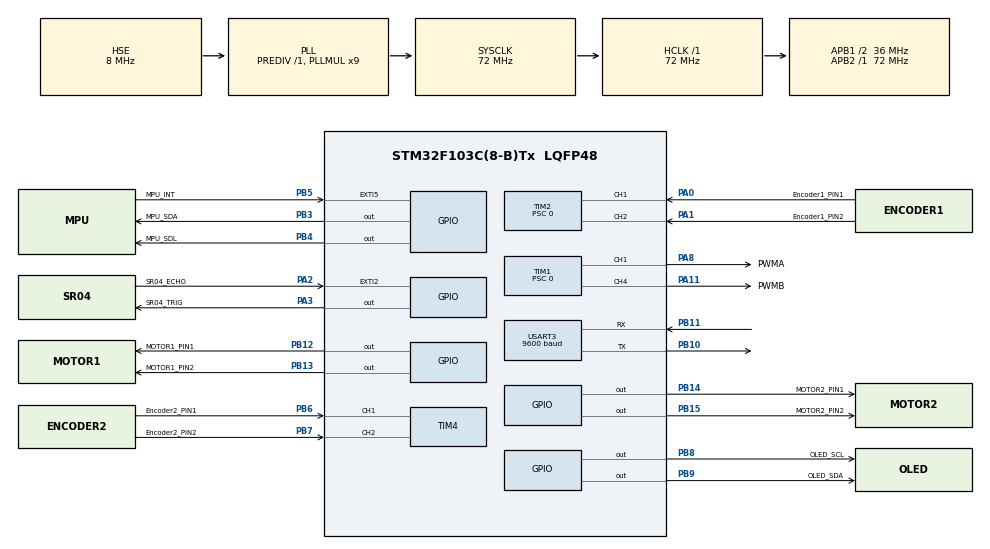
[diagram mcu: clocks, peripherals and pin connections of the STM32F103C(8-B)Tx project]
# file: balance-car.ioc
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Dma.Request0=USART3_RX
Dma.Request1=USART3_TX
Dma.USART3_RX.0.Direction=DMA_PERIPH_TO_MEMORY
Dma.USART3_RX.0.Instance=DMA1_Channel3
Dma.USART3_RX.0.MemDataAlignment=DMA_MDATAALIGN_BYTE
Dma.USART3_RX.0.MemInc=DMA_MINC_ENABLE
Dma.USART3_RX.0.Mode=DMA_NORMAL
Dma.USART3_RX.0.PeriphDataAlignment=DMA_PDATAALIGN_BYTE
Dma.USART3_RX.0.PeriphInc=DMA_PINC_DISABLE
Dma.USART3_RX.0.Priority=DMA_PRIORITY_LOW
Dma.USART3_TX.1.Direction=DMA_MEMORY_TO_PERIPH
Dma.USART3_TX.1.Instance=DMA1_Channel2
Dma.USART3_TX.1.MemDataAlignment=DMA_MDATAALIGN_BYTE
Dma.USART3_TX.1.MemInc=DMA_MINC_ENABLE
Dma.USART3_TX.1.Mode=DMA_NORMAL
Dma.USART3_TX.1.PeriphDataAlignment=DMA_PDATAALIGN_BYTE
Dma.USART3_TX.1.PeriphInc=DMA_PINC_DISABLE
Dma.USART3_TX.1.Priority=DMA_PRIORITY_LOW
Mcu.Family=STM32F1
Mcu.Name=STM32F103C(8-B)Tx
Mcu.Package=LQFP48
NVIC.DMA1_Channel2_IRQn=true\:0\:0\:false\:false\:true\:false\:true\:true
NVIC.DMA1_Channel3_IRQn=true\:0\:0\:false\:false\:true\:false\:true\:true
NVIC.EXTI2_IRQn=true\:0\:0\:false\:false\:true\:true\:true\:true
NVIC.EXTI9_5_IRQn=true\:0\:0\:false\:false\:true\:true\:true\:true
NVIC.PriorityGroup=NVIC_PRIORITYGROUP_4
NVIC.TIM2_IRQn=true\:0\:0\:false\:false\:true\:true\:true\:true
NVIC.USART3_IRQn=true\:0\:0\:false\:false\:true\:true\:true\:true
PA0-WKUP.GPIO_Label=Encoder1_PIN1
PA0-WKUP.Signal=S_TIM2_CH1_ETR
PA1.GPIO_Label=Encoder1_PIN2
PA1.Signal=S_TIM2_CH2
PA11.GPIO_Label=PWMB
PA11.Signal=S_TIM1_CH4
PA13.Mode=Serial_Wire
PA13.Signal=SYS_JTMS-SWDIO
PA14.Mode=Serial_Wire
PA14.Signal=SYS_JTCK-SWCLK
PA2.GPIO_Label=SR04_ECHO
PA2.GPIO_ModeDefaultEXTI=GPIO_MODE_IT_RISING_FALLING
PA2.GPIO_PuPd=GPIO_PULLDOWN
PA2.Signal=GPXTI2
PA3.GPIO_Label=SR04_TRIG
PA3.GPIO_Speed=GPIO_SPEED_FREQ_LOW
PA3.Signal=GPIO_Output
PA8.GPIO_Label=PWMA
PA8.Signal=S_TIM1_CH1
PB10.Mode=Asynchronous
PB10.Signal=USART3_TX
PB11.Mode=Asynchronous
PB11.Signal=USART3_RX
PB12.GPIO_Label=MOTOR1_PIN1
PB12.GPIO_Speed=GPIO_SPEED_FREQ_HIGH
PB12.Signal=GPIO_Output
PB13.GPIO_Label=MOTOR1_PIN2
PB13.GPIO_Speed=GPIO_SPEED_FREQ_HIGH
PB13.Signal=GPIO_Output
PB14.GPIO_Label=MOTOR2_PIN1
PB14.GPIO_Speed=GPIO_SPEED_FREQ_HIGH
PB14.Signal=GPIO_Output
PB15.GPIO_Label=MOTOR2_PIN2
PB15.GPIO_Speed=GPIO_SPEED_FREQ_HIGH
PB15.Signal=GPIO_Output
PB3.GPIO_Label=MPU_SDA
PB3.GPIO_ModeDefaultOutputPP=GPIO_MODE_OUTPUT_OD
PB3.GPIO_PuPd=GPIO_PULLUP
PB3.GPIO_Speed=GPIO_SPEED_FREQ_HIGH
PB3.Signal=GPIO_Output
PB4.GPIO_Label=MPU_SDL
PB4.GPIO_ModeDefaultOutputPP=GPIO_MODE_OUTPUT_OD
PB4.GPIO_PuPd=GPIO_PULLUP
PB4.GPIO_Speed=GPIO_SPEED_FREQ_HIGH
PB4.Signal=GPIO_Output
PB5.GPIO_Label=MPU_INT
PB5.GPIO_ModeDefaultEXTI=GPIO_MODE_IT_FALLING
PB5.GPIO_PuPd=GPIO_PULLUP
PB5.Signal=GPXTI5
PB6.GPIO_Label=Encoder2_PIN1
PB6.Signal=S_TIM4_CH1
PB7.GPIO_Label=Encoder2_PIN2
PB7.Signal=S_TIM4_CH2
PB8.GPIO_Label=OLED_SCL
PB8.GPIO_ModeDefaultOutputPP=GPIO_MODE_OUTPUT_OD
PB8.GPIO_PuPd=GPIO_PULLUP
PB8.GPIO_Speed=GPIO_SPEED_FREQ_HIGH
PB8.Signal=GPIO_Output
PB9.GPIO_Label=OLED_SDA
PB9.GPIO_ModeDefaultOutputPP=GPIO_MODE_OUTPUT_OD
PB9.GPIO_PuPd=GPIO_PULLUP
PB9.GPIO_Speed=GPIO_SPEED_FREQ_HIGH
PB9.Signal=GPIO_Output
PC14-OSC32_IN.Mode=LSE-External-Oscillator
PC14-OSC32_IN.Signal=RCC_OSC32_IN
PC15-OSC32_OUT.Mode=LSE-External-Oscillator
PC15-OSC32_OUT.Signal=RCC_OSC32_OUT
PD0-OSC_IN.Mode=HSE-External-Oscillator
PD0-OSC_IN.Signal=RCC_OSC_IN
PD1-OSC_OUT.Mode=HSE-External-Oscillator
PD1-OSC_OUT.Signal=RCC_OSC_OUT
ProjectManager.HeapSize=0x200
ProjectManager.StackSize=0x400
ProjectManager.TargetToolchain=MDK-ARM V5.32
RCC.AHBFreq_Value=72000000
RCC.APB1CLKDivider=RCC_HCLK_DIV2
RCC.APB1Freq_Value=36000000
RCC.APB1TimFreq_Value=72000000
RCC.APB2Freq_Value=72000000
RCC.APB2TimFreq_Value=72000000
RCC.HCLKFreq_Value=72000000
RCC.PLLMUL=RCC_PLL_MUL9
RCC.PLLSourceVirtual=RCC_PLLSOURCE_HSE
RCC.SYSCLKFreq_VALUE=72000000
RCC.SYSCLKSource=RCC_SYSCLKSOURCE_PLLCLK
RCC.USBFreq_Value=72000000
SH.S_TIM1_CH1.0=TIM1_CH1,PWM Generation1 CH1
SH.S_TIM1_CH4.0=TIM1_CH4,PWM Generation4 CH4
SH.S_TIM2_CH1_ETR.0=TIM2_CH1,Encoder_Interface
SH.S_TIM2_CH2.0=TIM2_CH2,Encoder_Interface
SH.S_TIM4_CH1.0=TIM4_CH1,Encoder_Interface
SH.S_TIM4_CH2.0=TIM4_CH2,Encoder_Interface
TIM1.Channel-PWM\ Generation1\ CH1=TIM_CHANNEL_1
TIM1.Channel-PWM\ Generation4\ CH4=TIM_CHANNEL_4
TIM1.OCMode_PWM-PWM\ Generation4\ CH4=TIM_OCMODE_PWM1
TIM1.Period=7200-1
TIM1.Prescaler=0
TIM2.IC2Polarity=TIM_ICPOLARITY_FALLING
TIM2.Period=65535
TIM2.Prescaler=0
TIM3.Period=65535
TIM3.Prescaler=72-1
TIM4.IC1Filter=0
TIM4.IC2Filter=6
TIM4.IC2Polarity=TIM_ICPOLARITY_FALLING
USART3.BaudRate=9600
USART3.VirtualMode=VM_ASYNC
VP_TIM1_VS_ClockSourceINT.Mode=Internal
VP_TIM3_VS_ClockSourceINT.Mode=Internal
board=custom

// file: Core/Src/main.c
/* USER CODE BEGIN Header */
/**
  ******************************************************************************
  * @file           : main.c
  * @brief          : Main program body
  ******************************************************************************
  * @attention
  *
  * Copyright (c) 2025 STMicroelectronics.
  * All rights reserved.
  *
  * This software is licensed under terms that can be found in the LICENSE file
  * in the root directory of this software component.
  * If no LICENSE file comes with this software, it is provided AS-IS.
  *
  ******************************************************************************
  */
/* USER CODE END Header */
#include "main.h"
#include "dma.h"
#include "tim.h"
#include "usart.h"
#include "gpio.h"

/* USER CODE BEGIN Includes */
#include <math.h>
#include "Encoder.h"
#include "HC_SR04.h"
#include "MPU6050.h"
#include "Motor.h"
#include "OLED.h"
#include "PID.h"
#include "PWM.h"
#include "Serial_DMA.h"
/* USER CODE END Includes */

/* USER CODE BEGIN PD */
#define MACHINE_MEDIAN -1.0f  // 机械中值
/* USER CODE END PD */

/* USER CODE BEGIN PV */
uint8_t run_status = 1;  // 0:停止,1:运行PID

MPU mpu_data;
int16_t speed1, speed2, motor1_pwm, motor2_pwm;
float angle;  // 直立角度，用于直立环控制
PID_t vertical_pid = {
    .Kp = 250,  // 420
    .Ki = 0,
    .Kd = 0.46,  //0.2
    .Target = MACHINE_MEDIAN,
};  // 垂直方向速度控制PID

PID_t speed_pid = {
    .Kp = 0.7,
    .Ki = 0.0035,
    .Kd = 0,
    .Target = 0,
};  // 速度控制PID
/* USER CODE END PV */

void SystemClock_Config(void);

/* USER CODE BEGIN 0 */
void All_Init(void) {
  OLED_Init();
  MPU_DMP_Init();
  PWM_Init();
  Encoder_Init();
  HC_SR04_Init();
  Serial_DMA_Init();
}
/* USER CODE END 0 */

int main(void)
{

  /* MCU Configuration--------------------------------------------------------*/

  /* Reset of all peripherals, Initializes the Flash interface and the Systick. */
  HAL_Init();

  /* Configure the system clock */
  SystemClock_Config();

  /* Initialize all configured peripherals */
  MX_GPIO_Init();
  MX_DMA_Init();
  MX_TIM1_Init();
  MX_TIM2_Init();
  MX_TIM4_Init();
  MX_TIM3_Init();
  MX_USART3_UART_Init();
  /* USER CODE BEGIN 2 */
  All_Init();
  OLED_Clear();

  /* USER CODE END 2 */

  /* Infinite loop */
  /* USER CODE BEGIN WHILE */
  while (1) {
    OLED_Printf(0, 0, OLED_6X8, "Roll:%+05.2f", angle);
    OLED_Printf(0, 8, OLED_6X8, "Distance:%.2fcm", HC_SR04_GetDistance());
    OLED_Update();
    delay_ms(100);
    /* USER CODE END WHILE */

  }
}

void SystemClock_Config(void)
{
  RCC_OscInitTypeDef RCC_OscInitStruct = {0};
  RCC_ClkInitTypeDef RCC_ClkInitStruct = {0};

  /** Initializes the RCC Oscillators according to the specified parameters
  * in the RCC_OscInitTypeDef structure.
  */
  RCC_OscInitStruct.OscillatorType = RCC_OSCILLATORTYPE_HSE;
  RCC_OscInitStruct.HSEState = RCC_HSE_ON;
  RCC_OscInitStruct.HSEPredivValue = RCC_HSE_PREDIV_DIV1;
  RCC_OscInitStruct.HSIState = RCC_HSI_ON;
  RCC_OscInitStruct.PLL.PLLState = RCC_PLL_ON;
  RCC_OscInitStruct.PLL.PLLSource = RCC_PLLSOURCE_HSE;
  RCC_OscInitStruct.PLL.PLLMUL = RCC_PLL_MUL9;
  if (HAL_RCC_OscConfig(&RCC_OscInitStruct) != HAL_OK)
  {
    Error_Handler();
  }

  /** Initializes the CPU, AHB and APB buses clocks
  */
  RCC_ClkInitStruct.ClockType = RCC_CLOCKTYPE_HCLK|RCC_CLOCKTYPE_SYSCLK
                              |RCC_CLOCKTYPE_PCLK1|RCC_CLOCKTYPE_PCLK2;
  RCC_ClkInitStruct.SYSCLKSource = RCC_SYSCLKSOURCE_PLLCLK;
  RCC_ClkInitStruct.AHBCLKDivider = RCC_SYSCLK_DIV1;
  RCC_ClkInitStruct.APB1CLKDivider = RCC_HCLK_DIV2;
  RCC_ClkInitStruct.APB2CLKDivider = RCC_HCLK_DIV1;

  if (HAL_RCC_ClockConfig(&RCC_ClkInitStruct, FLASH_LATENCY_2) != HAL_OK)
  {
    Error_Handler();
  }
}

/* USER CODE BEGIN 4 */
void HAL_GPIO_EXTI_Callback(uint16_t GPIO_Pin) {
  if (GPIO_Pin == MPU_INT_Pin) {  // MPU6050采样频率100Hz，每10ms触发一次中断
    if (run_status) {
      /* 内环直立环PID（10ms执行一次）*/
      MPU_DMP_ReadData(&mpu_data);
      angle = mpu_data.roll;

      /* 外环速度环*/
      speed1 = Encoder_Get(1), speed2 = Encoder_Get(2);
      speed_pid.Actual = speed1 + speed2;
      Speed_PID_Update(&speed_pid);
      vertical_pid.Target = MACHINE_MEDIAN - speed_pid.Out;

      /* 直立环 */
      vertical_pid.Actual = angle;
      Vertical_PID_Update(&vertical_pid, mpu_data.gyrox);
      motor1_pwm = vertical_pid.Out;
      motor2_pwm = vertical_pid.Out;
      Motor_SetPWM(motor1_pwm, motor2_pwm);

      // 倒下停止
      if (fabs(mpu_data.roll) > 45) {
        run_status = 0;
      }

    } else {
      Motor_SetPWM(0, 0);
    }
  }

  if (GPIO_Pin == SR04_ECHO_Pin) {  // 超声波测距
    HC_SR04_IRQHandler();
  }
}

/* USER CODE END 4 */

void Error_Handler(void)
{
  __disable_irq();
  while (1) {
  }
}
